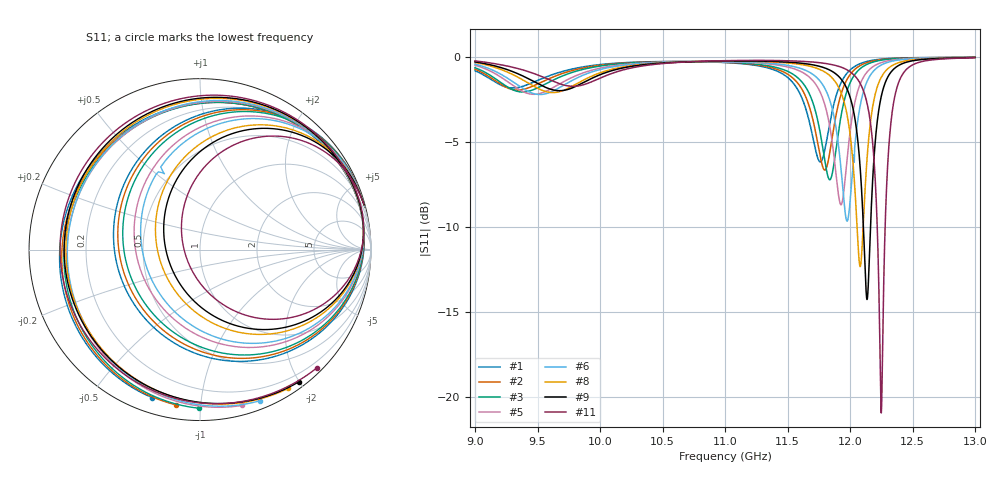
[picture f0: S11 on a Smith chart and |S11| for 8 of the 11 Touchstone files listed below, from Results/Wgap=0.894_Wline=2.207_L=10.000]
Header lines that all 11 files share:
! TOUCHSTONE file generated by CST DESIGN STUDIO
! Project name: C:\Work\MatlabApps\UnitCellOptimizationMatlab\CST\unitcell.cst
! Tree item: Tasks\Sweep1\SPara1\S-Parameters
! Header version: 2024
! Port assignment regex: !\s*Touchstone port\s*([0-9]+)\s*=\s*(CST MWS port|CST DES external port|CST DES block port)\s*(.+)\s* \(\"(.*)\"\)(\s*mode\s*([0-9]+))?.*
! Touchstone port assignment:
! Touchstone port 1 = CST DES external port 1 ("")
# GHz S MA R 50
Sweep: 9 GHz to 13 GHz
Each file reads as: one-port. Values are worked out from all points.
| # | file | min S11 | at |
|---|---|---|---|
| 1 | DS_for_MWS-run-0001.s1p | -6.2 dB | 11.76 GHz |
| 2 | DS_for_MWS-run-0002.s1p | -6.7 dB | 11.8 GHz |
| 3 | DS_for_MWS-run-0003.s1p | -7.2 dB | 11.84 GHz |
| 4 | DS_for_MWS-run-0004.s1p | -7.9 dB | 11.88 GHz |
| 5 | DS_for_MWS-run-0005.s1p | -8.7 dB | 11.93 GHz |
| 6 | DS_for_MWS-run-0006.s1p | -9.7 dB | 11.98 GHz |
| 7 | DS_for_MWS-run-0007.s1p | -10.8 dB | 12.03 GHz |
| 8 | DS_for_MWS-run-0008.s1p | -12.3 dB | 12.08 GHz |
| 9 | DS_for_MWS-run-0009.s1p | -14.3 dB | 12.14 GHz |
| 10 | DS_for_MWS-run-0010.s1p | -16.9 dB | 12.19 GHz |
| 11 | DS_for_MWS-run-0011.s1p | -20.9 dB | 12.25 GHz |
